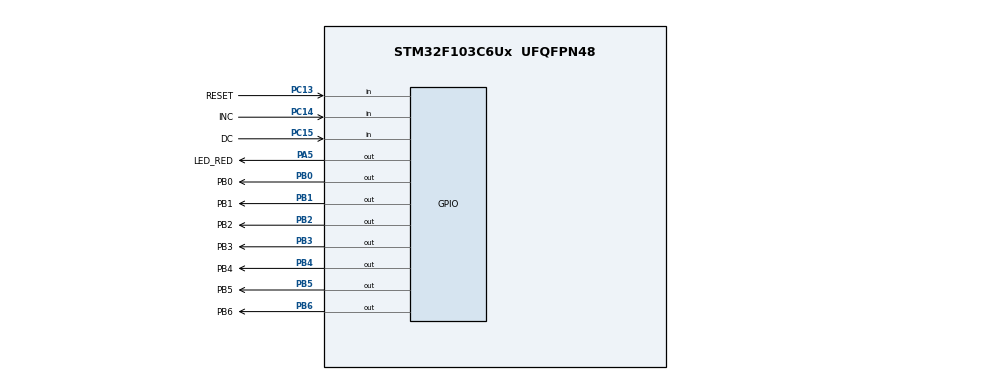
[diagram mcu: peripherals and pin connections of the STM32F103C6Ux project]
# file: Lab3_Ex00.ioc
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Mcu.Family=STM32F1
Mcu.Name=STM32F103C6Ux
Mcu.Package=UFQFPN48
NVIC.PriorityGroup=NVIC_PRIORITYGROUP_4
NVIC.TIM2_IRQn=true\:0\:0\:false\:false\:true\:true\:true
PA5.GPIO_Label=LED_RED
PA5.Signal=GPIO_Output
PB0.GPIO_Label=PB0
PB0.Signal=GPIO_Output
PB1.GPIO_Label=PB1
PB1.Signal=GPIO_Output
PB2.GPIO_Label=PB2
PB2.Signal=GPIO_Output
PB3.GPIO_Label=PB3
PB3.Signal=GPIO_Output
PB4.GPIO_Label=PB4
PB4.Signal=GPIO_Output
PB5.GPIO_Label=PB5
PB5.Signal=GPIO_Output
PB6.GPIO_Label=PB6
PB6.Signal=GPIO_Output
PC13-TAMPER-RTC.GPIO_Label=RESET
PC13-TAMPER-RTC.GPIO_PuPd=GPIO_PULLUP
PC13-TAMPER-RTC.Signal=GPIO_Input
PC14-OSC32_IN.GPIO_Label=INC
PC14-OSC32_IN.GPIO_PuPd=GPIO_PULLUP
PC14-OSC32_IN.Signal=GPIO_Input
PC15-OSC32_OUT.GPIO_Label=DC
PC15-OSC32_OUT.GPIO_PuPd=GPIO_PULLUP
PC15-OSC32_OUT.Signal=GPIO_Input
ProjectManager.HeapSize=0x200
ProjectManager.StackSize=0x400
ProjectManager.TargetToolchain=STM32CubeIDE
RCC.APB1Freq_Value=8000000
RCC.APB2Freq_Value=8000000
TIM2.Period=9
TIM2.Prescaler=7999
VP_SYS_VS_ND.Mode=No_Debug
VP_TIM2_VS_ClockSourceINT.Mode=Internal
board=custom

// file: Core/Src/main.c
/* USER CODE BEGIN Header */
/**
  ****************************************************************************
  * @file           : main.c
  * @brief          : Main program body
  ****************************************************************************
  * @attention
  *
  * <h2><center>&copy; Copyright (c) 2022 STMicroelectronics.
  * All rights reserved.</center></h2>
  *
  * This software component is licensed by ST under BSD 3-Clause license,
  * the "License"; You may not use this file except in compliance with the
  * License. You may obtain a copy of the License at:
  *                        opensource.org/licenses/BSD-3-Clause
  *
  ****************************************************************************
  */
/* USER CODE END Header */
#include "main.h"

/* USER CODE BEGIN Includes */
#include "software_timer.h"
#include "button.h"
#include "setLED.h"
#include "global.h"
#include "fsm_simple_buttons_run.h"
/* USER CODE END Includes */

TIM_HandleTypeDef htim2;

void SystemClock_Config(void);
static void MX_GPIO_Init(void);
static void MX_TIM2_Init(void);

int main(void)
{

  /* MCU Configuration--------------------------------------------------------*/

  /* Reset of all peripherals, Initializes the Flash interface and the Systick. */
  HAL_Init();

  /* Configure the system clock */
  SystemClock_Config();

  /* Initialize all configured peripherals */
  MX_GPIO_Init();
  MX_TIM2_Init();
  /* USER CODE BEGIN 2 */
  HAL_TIM_Base_Start_IT(&htim2);
  /* USER CODE END 2 */

  /* Infinite loop */
  /* USER CODE BEGIN WHILE */
 status = 1;
 setTimer(100);
  while (1)
  {

	  if(timer_flag == 1){
		  HAL_GPIO_TogglePin(LED_RED_GPIO_Port, LED_RED_Pin);
		  setTimer(100);
	  }
	  fsm_simple_buttons_run();

    /* USER CODE END WHILE */

  }
}

void SystemClock_Config(void)
{
  RCC_OscInitTypeDef RCC_OscInitStruct = {0};
  RCC_ClkInitTypeDef RCC_ClkInitStruct = {0};

  /** Initializes the RCC Oscillators according to the specified parameters
  * in the RCC_OscInitTypeDef structure.
  */
  RCC_OscInitStruct.OscillatorType = RCC_OSCILLATORTYPE_HSI;
  RCC_OscInitStruct.HSIState = RCC_HSI_ON;
  RCC_OscInitStruct.HSICalibrationValue = RCC_HSICALIBRATION_DEFAULT;
  RCC_OscInitStruct.PLL.PLLState = RCC_PLL_NONE;
  if (HAL_RCC_OscConfig(&RCC_OscInitStruct) != HAL_OK)
  {
    Error_Handler();
  }
  /** Initializes the CPU, AHB and APB buses clocks
  */
  RCC_ClkInitStruct.ClockType = RCC_CLOCKTYPE_HCLK|RCC_CLOCKTYPE_SYSCLK
                              |RCC_CLOCKTYPE_PCLK1|RCC_CLOCKTYPE_PCLK2;
  RCC_ClkInitStruct.SYSCLKSource = RCC_SYSCLKSOURCE_HSI;
  RCC_ClkInitStruct.AHBCLKDivider = RCC_SYSCLK_DIV1;
  RCC_ClkInitStruct.APB1CLKDivider = RCC_HCLK_DIV1;
  RCC_ClkInitStruct.APB2CLKDivider = RCC_HCLK_DIV1;

  if (HAL_RCC_ClockConfig(&RCC_ClkInitStruct, FLASH_LATENCY_0) != HAL_OK)
  {
    Error_Handler();
  }
}

static void MX_TIM2_Init(void)
{

  TIM_ClockConfigTypeDef sClockSourceConfig = {0};
  TIM_MasterConfigTypeDef sMasterConfig = {0};

  htim2.Instance = TIM2;
  htim2.Init.Prescaler = 7999;
  htim2.Init.CounterMode = TIM_COUNTERMODE_UP;
  htim2.Init.Period = 9;
  htim2.Init.ClockDivision = TIM_CLOCKDIVISION_DIV1;
  htim2.Init.AutoReloadPreload = TIM_AUTORELOAD_PRELOAD_DISABLE;
  if (HAL_TIM_Base_Init(&htim2) != HAL_OK)
  {
    Error_Handler();
  }
  sClockSourceConfig.ClockSource = TIM_CLOCKSOURCE_INTERNAL;
  if (HAL_TIM_ConfigClockSource(&htim2, &sClockSourceConfig) != HAL_OK)
  {
    Error_Handler();
  }
  sMasterConfig.MasterOutputTrigger = TIM_TRGO_RESET;
  sMasterConfig.MasterSlaveMode = TIM_MASTERSLAVEMODE_DISABLE;
  if (HAL_TIMEx_MasterConfigSynchronization(&htim2, &sMasterConfig) != HAL_OK)
  {
    Error_Handler();
  }

}

static void MX_GPIO_Init(void)
{
  GPIO_InitTypeDef GPIO_InitStruct = {0};

  /* GPIO Ports Clock Enable */
  __HAL_RCC_GPIOC_CLK_ENABLE();
  __HAL_RCC_GPIOA_CLK_ENABLE();
  __HAL_RCC_GPIOB_CLK_ENABLE();

  /*Configure GPIO pin Output Level */
  HAL_GPIO_WritePin(LED_RED_GPIO_Port, LED_RED_Pin, GPIO_PIN_RESET);

  /*Configure GPIO pin Output Level */
  HAL_GPIO_WritePin(GPIOB, PB0_Pin|PB1_Pin|PB2_Pin|PB3_Pin
                          |PB4_Pin|PB5_Pin|PB6_Pin, GPIO_PIN_RESET);

  /*Configure GPIO pins : RESET_Pin INC_Pin DC_Pin */
  GPIO_InitStruct.Pin = RESET_Pin|INC_Pin|DC_Pin;
  GPIO_InitStruct.Mode = GPIO_MODE_INPUT;
  GPIO_InitStruct.Pull = GPIO_PULLUP;
  HAL_GPIO_Init(GPIOC, &GPIO_InitStruct);

  /*Configure GPIO pin : LED_RED_Pin */
  GPIO_InitStruct.Pin = LED_RED_Pin;
  GPIO_InitStruct.Mode = GPIO_MODE_OUTPUT_PP;
  GPIO_InitStruct.Pull = GPIO_NOPULL;
  GPIO_InitStruct.Speed = GPIO_SPEED_FREQ_LOW;
  HAL_GPIO_Init(LED_RED_GPIO_Port, &GPIO_InitStruct);

  /*Configure GPIO pins : PB0_Pin PB1_Pin PB2_Pin PB3_Pin
                           PB4_Pin PB5_Pin PB6_Pin */
  GPIO_InitStruct.Pin = PB0_Pin|PB1_Pin|PB2_Pin|PB3_Pin
                          |PB4_Pin|PB5_Pin|PB6_Pin;
  GPIO_InitStruct.Mode = GPIO_MODE_OUTPUT_PP;
  GPIO_InitStruct.Pull = GPIO_NOPULL;
  GPIO_InitStruct.Speed = GPIO_SPEED_FREQ_LOW;
  HAL_GPIO_Init(GPIOB, &GPIO_InitStruct);

}

/* USER CODE BEGIN 4 */
void HAL_TIM_PeriodElapsedCallback(TIM_HandleTypeDef *htim){
	timerRun();
	getKeyInput();
}
/* USER CODE END 4 */

void Error_Handler(void)
{
  __disable_irq();
  while (1)
  {
  }
}

/************************ (C) COPYRIGHT STMicroelectronics *****END OF FILE****/
